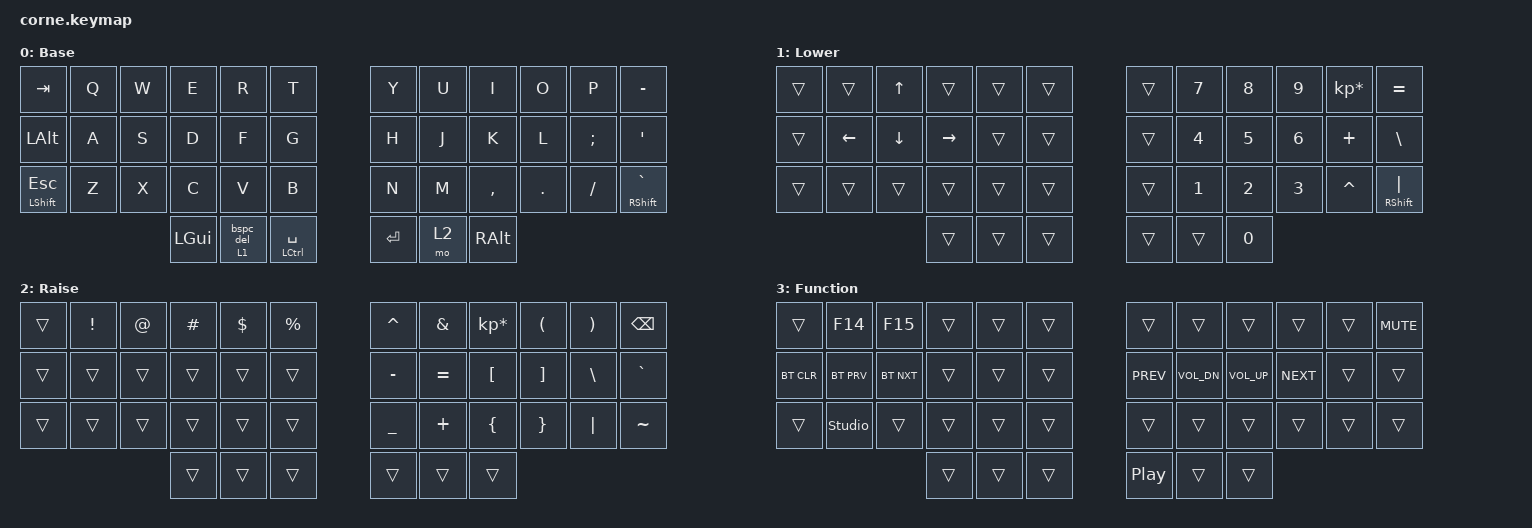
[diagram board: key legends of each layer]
/*
 * Copyright (c) 2020 The ZMK Contributors
 *
 * SPDX-License-Identifier: MIT
 */

#include <behaviors.dtsi>
#include <dt-bindings/zmk/bt.h>
#include <dt-bindings/zmk/keys.h>

/ {
    conditional_layers {
        compatible = "zmk,conditional-layers";
        tri_layer {
            if-layers = <1 2>;
            then-layer = <3>;
        };
    };

    behaviors {
        lt_bspc: layer_tap_bspc_del {
            compatible = "zmk,behavior-hold-tap";
            label = "LAYER_TAP_BACKSPACE_DELETE";
            #binding-cells = <2>;
            bindings = <&mo>, <&bspc_del>;
            tapping-term-ms = <200>;
            quick-tap-ms = <200>;
        };

        bspc_del: backspace_delete {
            compatible = "zmk,behavior-mod-morph";
            #binding-cells = <0>;
            bindings = <&kp BACKSPACE>, <&kp DELETE>;
            mods = <(MOD_LSFT|MOD_RSFT)>;
        };

        rpi: require_prior_idle {
            compatible = "zmk,behavior-hold-tap";
            #binding-cells = <2>;
            flavor = "tap-preferred";
            tapping-term-ms = <200>;
            quick-tap-ms = <200>;
            require-prior-idle-ms = <125>;
            bindings = <&kp>, <&kp>;
        };

        volume_mute: volume_mute {
            compatible = "zmk,behavior-mod-morph";
            #binding-cells = <0>;
            bindings = <&kp C_VOL_DN>, <&kp C_MUTE>;
            mods = <(MOD_LALT|MOD_RALT)>;
        };
    };

    keymap {
        compatible = "zmk,keymap";

        default_layer {
            // -----------------------------------------------------------------------------------------
            // |   TAB    |  Q  |  W  |  E  |  R  |  T   |   |  Y  |  U   |  I  |  O  |  P  |   -    |
            // |   ALT    |  A  |  S  |  D  |  F  |  G   |   |  H  |  J   |  K  |  L  |  ;  |   '    |
            // | SHFT/ESC |  Z  |  X  |  C  |  V  |  B   |   |  N  |  M   |  ,  |  .  |  /  | SHFT/` |
            //          | GUI | LWR/BSPC/DEL | CTRL/SPC  |   | ENT | RSE  | ALT |

            display-name = "Base";
            bindings = <
&kp TAB        &kp Q  &kp W  &kp E     &kp R         &kp T               &kp Y    &kp U  &kp I      &kp O    &kp P     &kp MINUS
&kp LALT       &kp A  &kp S  &kp D     &kp F         &kp G               &kp H    &kp J  &kp K      &kp L    &kp SEMI  &kp SQT
&mt LSHFT ESC  &kp Z  &kp X  &kp C     &kp V         &kp B               &kp N    &kp M  &kp COMMA  &kp DOT  &kp FSLH  &mt RSHIFT GRAVE
                             &kp LGUI  &lt_bspc 1 0  &rpi LCTRL SPACE    &kp RET  &mo 2  &kp RALT
            >;
        };

        lower_layer {
            // -----------------------------------------------------------------------------------------
            // |     |      |  UP  |       |     |     |   |     |  7  |  8  |  9  |  *  |    =    |
            // |     | LEFT | DOWN | RIGHT |     |     |   |     |  4  |  5  |  6  |  +  |    \    |
            // |     |      |      |       |     |     |   |     |  1  |  2  |  3  |  ^  | SHIFT/| |
            //                     |       |     |     |   |     |     |  0  |

            display-name = "Lower";
            bindings = <
&trans  &trans    &kp UP    &trans     &trans  &trans    &trans  &kp N7  &kp N8  &kp N9  &kp KP_MULTIPLY  &kp EQUAL
&trans  &kp LEFT  &kp DOWN  &kp RIGHT  &trans  &trans    &trans  &kp N4  &kp N5  &kp N6  &kp PLUS         &kp BSLH
&trans  &trans    &trans    &trans     &trans  &trans    &trans  &kp N1  &kp N2  &kp N3  &kp CARET        &mt RSHIFT PIPE
                            &trans     &trans  &trans    &trans  &trans  &kp N0
            >;
        };

        raise_layer {
            // -----------------------------------------------------------------------------------------
            // |  TAB |  !  |  @  |  #  |  $  |  %  |   |  ^  |  &  |  *  |  (  |  )  | BKSP |
            // | CTRL |     |     |     |     |     |   |  -  |  =  |  [  |  ]  |  \  |  `   |
            // | SHFT |     |     |     |     |     |   |  _  |  +  |  {  |  }  | "|" |  ~   |
            //                    | GUI |     | SPC |   | ENT |     |     |

            display-name = "Raise";
            bindings = <
&trans  &kp EXCL &kp AT  &kp HASH  &kp DLLR  &kp PRCNT    &kp CARET  &kp AMPS   &kp KP_MULTIPLY  &kp LPAR  &kp RPAR  &kp BSPC
&trans  &trans   &trans  &trans    &trans    &trans       &kp MINUS  &kp EQUAL  &kp LBKT         &kp RBKT  &kp BSLH  &kp GRAVE
&trans  &trans   &trans  &trans    &trans    &trans       &kp UNDER  &kp PLUS   &kp LBRC         &kp RBRC  &kp PIPE  &kp TILDE
                         &trans    &trans    &trans       &trans     &trans     &trans
            >;
        };

        function_layer {
            display-name = "Function";
            bindings = <
&trans      &kp F14        &kp F15     &trans  &trans  &trans    &trans            &trans        &trans        &trans      &trans  &kp C_MUTE
&bt BT_CLR  &bt BT_PRV     &bt BT_NXT  &trans  &trans  &trans    &kp C_PREV        &kp C_VOL_DN  &kp C_VOL_UP  &kp C_NEXT  &trans  &trans
&trans      &studio_unlock &trans      &trans  &trans  &trans    &trans            &trans        &trans        &trans      &trans  &trans
                                       &trans  &trans  &trans    &kp C_PLAY_PAUSE  &trans        &trans
            >;
        };
    };
};
